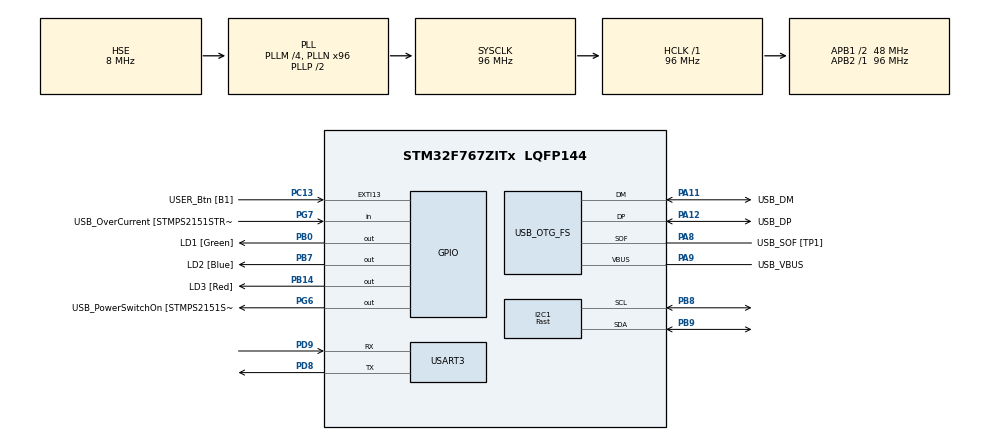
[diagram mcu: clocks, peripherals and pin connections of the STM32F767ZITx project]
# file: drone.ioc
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FREERTOS.BinarySemaphores01=binSemaphoreAcc1,Dynamic,NULL;binSemaphoreAcc2,Dynamic,NULL;binSemaphoreMag,Dynamic,NULL;binSemaphoreGyr,Dynamic,NULL;binSemaphorePres,Dynamic,NULL;binSemaphoreI2C,Dynamic,NULL;binSemaphoreAccMean,Dynamic,NULL
FREERTOS.Tasks01=tControlMotor,30,128,startTaskControlMotor,Default,NULL,Dynamic,NULL,NULL;tAttitude,27,128,startTaskAttitude,Default,NULL,Dynamic,NULL,NULL;tAltitude,25,128,startTaskAltitude,Default,NULL,Dynamic,NULL,NULL;LBS22HB_pressio,26,128,getPressure,Default,NULL,Dynamic,NULL,NULL;LSM303AGR_magne,28,128,getMagnetometer,Default,NULL,Dynamic,NULL,NULL;Media_Accellero,29,128,getAccMean,Default,NULL,Dynamic,NULL,NULL;LSM6DSL_girosco,31,128,getGyroscope,Default,NULL,Dynamic,NULL,NULL;Display,24,1000,displayData,Default,NULL,Dynamic,NULL,NULL
FREERTOS.configENABLE_FPU=1
FREERTOS.configUSE_NEWLIB_REENTRANT=1
I2C1.I2C_Speed_Mode=I2C_Fast
I2C1.Timing=0x2010091A
Mcu.Family=STM32F7
Mcu.Name=STM32F767ZITx
Mcu.Package=LQFP144
NVIC.PriorityGroup=NVIC_PRIORITYGROUP_4
NVIC.TIM1_UP_TIM10_IRQn=true\:15\:0\:false\:false\:true\:false\:false\:true\:true
NVIC.TimeBase=TIM1_UP_TIM10_IRQn
NVIC.TimeBaseIP=TIM1
PA1.GPIO_Label=RMII_REF_CLK [LAN8742A-CZ-TR_REFCLK0]
PA1.Signal=ETH_REF_CLK
PA10.GPIO_Label=USB_ID
PA10.Signal=USB_OTG_FS_ID
PA11.GPIO_Label=USB_DM
PA11.Mode=Device_Only
PA11.Signal=USB_OTG_FS_DM
PA12.GPIO_Label=USB_DP
PA12.Mode=Device_Only
PA12.Signal=USB_OTG_FS_DP
PA13.Mode=Serial_Wire
PA13.Signal=SYS_JTMS-SWDIO
PA14.Mode=Serial_Wire
PA14.Signal=SYS_JTCK-SWCLK
PA2.Signal=USART2_TX
PA7.GPIO_Label=RMII_CRS_DV [LAN8742A-CZ-TR_CRS_DV]
PA7.Signal=ETH_CRS_DV
PA8.GPIO_Label=USB_SOF [TP1]
PA8.Mode=Activate_SOF_FS
PA8.Signal=USB_OTG_FS_SOF
PA9.GPIO_Label=USB_VBUS
PA9.Mode=Activate_VBUS
PA9.Signal=USB_OTG_FS_VBUS
PB0.GPIO_Label=LD1 [Green]
PB0.Signal=GPIO_Output
PB13.GPIO_Label=RMII_TXD1 [LAN8742A-CZ-TR_TXD1]
PB13.Signal=ETH_TXD1
PB14.GPIO_Label=LD3 [Red]
PB14.Signal=GPIO_Output
PB3.GPIO_Label=SWO
PB3.Signal=SYS_JTDO-SWO
PB7.GPIO_Label=LD2 [Blue]
PB7.Signal=GPIO_Output
PB8.Mode=I2C
PB8.Signal=I2C1_SCL
PB9.Mode=I2C
PB9.Signal=I2C1_SDA
PC1.GPIO_Label=RMII_MDC [LAN8742A-CZ-TR_MDC]
PC1.Signal=ETH_MDC
PC13.GPIO_Label=USER_Btn [B1]
PC13.Signal=GPXTI13
PC14/OSC32_IN.Mode=LSE-External-Oscillator
PC14/OSC32_IN.Signal=RCC_OSC32_IN
PC15/OSC32_OUT.Mode=LSE-External-Oscillator
PC15/OSC32_OUT.Signal=RCC_OSC32_OUT
PC4.GPIO_Label=RMII_RXD0 [LAN8742A-CZ-TR_RXD0]
PC4.Signal=ETH_RXD0
PC5.GPIO_Label=RMII_RXD1 [LAN8742A-CZ-TR_RXD1]
PC5.Signal=ETH_RXD1
PD8.Mode=Asynchronous
PD8.Signal=USART3_TX
PD9.Mode=Asynchronous
PD9.Signal=USART3_RX
PG11.GPIO_Label=RMII_TX_EN [LAN8742A-CZ-TR_TXEN]
PG11.Signal=ETH_TX_EN
PG13.GPIO_Label=RMII_TXD0 [LAN8742A-CZ-TR_TXD0]
PG13.Signal=ETH_TXD0
PG6.GPIO_Label=USB_PowerSwitchOn [STMPS2151STR_EN]
PG6.Signal=GPIO_Output
PG7.GPIO_Label=USB_OverCurrent [STMPS2151STR_FAULT]
PG7.Signal=GPIO_Input
PH0/OSC_IN.GPIO_Label=MCO [STM32F103CBT6_PA8]
PH0/OSC_IN.Mode=HSE-External-Clock-Source
PH0/OSC_IN.Signal=RCC_OSC_IN
PH1/OSC_OUT.Mode=HSE-External-Clock-Source
PH1/OSC_OUT.Signal=RCC_OSC_OUT
ProjectManager.HeapSize=0x200
ProjectManager.StackSize=0x400
ProjectManager.TargetToolchain=STM32CubeIDE
RCC.48MHZClocksFreq_Value=24000000
RCC.AHBFreq_Value=96000000
RCC.APB1CLKDivider=RCC_HCLK_DIV2
RCC.APB1Freq_Value=48000000
RCC.APB1TimFreq_Value=96000000
RCC.APB2Freq_Value=96000000
RCC.APB2TimFreq_Value=96000000
RCC.CortexFreq_Value=96000000
RCC.HCLKFreq_Value=96000000
RCC.HSE_VALUE=8000000
RCC.HSI_VALUE=16000000
RCC.PLLM=4
RCC.PLLMUL=RCC_PLL_MUL9
RCC.PLLN=96
RCC.PLLQ=4
RCC.PRESCALERUSB=RCC_USBCLKSOURCE_PLL_DIV1_5
RCC.SYSCLKFreq_VALUE=96000000
RCC.SYSCLKSource=RCC_SYSCLKSOURCE_PLLCLK
RCC.SYSCLKSourceVirtual=RCC_SYSCLKSOURCE_PLLCLK
RCC.USBFreq_Value=48000000
RCC.VCOOutputFreq_Value=192000000
USART3.VirtualMode-Asynchronous=VM_ASYNC
USB_OTG_FS.VirtualMode=Device_Only
VP_FREERTOS_VS_CMSIS_V2.Mode=CMSIS_V2
VP_SYS_VS_tim1.Mode=TIM1
board=NUCLEO-F767ZI

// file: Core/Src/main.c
/* USER CODE BEGIN Header */
/**
  ******************************************************************************
  * @file           : main.c
  * @brief          : Main program body
  ******************************************************************************
  * @attention
  *
  * Copyright (c) 2022 STMicroelectronics.
  * All rights reserved.
  *
  * This software is licensed under terms that can be found in the LICENSE file
  * in the root directory of this software component.
  * If no LICENSE file comes with this software, it is provided AS-IS.
  *
  ******************************************************************************
  */
/* USER CODE END Header */
#include "main.h"
#include "cmsis_os.h"
#include "i2c.h"
#include "usart.h"
#include "usb_otg.h"
#include "gpio.h"

/* USER CODE BEGIN Includes */
#include "accel.h"
#include "attitude.h"
#include "baro.h"
#include "control_motor.h"
#include "gyro.h"
#include "mag.h"
#include "lsm303agr_interface.h"
#include "lsm6dsl_interface.h"
#include "lps22hb_interface.h"
#include <global_variables.h>
#include "string.h"
#include "bin_semaphores.h"
/* USER CODE END Includes */

void SystemClock_Config(void);
void MX_FREERTOS_Init(void);
/* USER CODE BEGIN PFP */
static void sensorGyroInit(struct gyroDev_s *gyro);
static bool sensorGyroRead(struct gyroDev_s *gyro);
static void sensorAccInit(struct accDev_s *acc);
static bool sensorAccRead(struct accDev_s *acc);
static void sensorMagInit(struct magDev_s *mag);
static bool sensorMagRead(struct magDev_s *mag);
static void sensorBaroInit(struct baroDev_s *baro);
static bool sensorBaroRead(struct baroDev_s *baro);
/* USER CODE END PFP */

int main(void)
{

  /* MCU Configuration--------------------------------------------------------*/

  /* Reset of all peripherals, Initializes the Flash interface and the Systick. */
  HAL_Init();

  /* Configure the system clock */
  SystemClock_Config();

  /* Initialize all configured peripherals */
  MX_GPIO_Init();
  MX_USB_OTG_FS_PCD_Init();
  MX_I2C1_Init();
  MX_USART3_UART_Init();
  /* USER CODE BEGIN 2 */
  /* init sensors*/
  LSM303AGR_init();
  LSM6DSL_init();
  LPS22HB_init();

  /* initialization of control task */
  gyroInit(sensorGyroInit, sensorGyroRead);
  controlMotorInit();

  /* initialization of attitude task */
  accInit(sensorAccInit, sensorAccRead);
  magInit(sensorMagInit, sensorMagRead);
  attitudeInit();

  /* initialization of altitude task */
  baroInit(sensorBaroInit, sensorBaroRead);

  /* USER CODE END 2 */

  /* Init scheduler */
  osKernelInitialize();  /* Call init function for freertos objects (in freertos.c) */
  MX_FREERTOS_Init();

  /* Start scheduler */
  osKernelStart();
  /* We should never get here as control is now taken by the scheduler */
  /* Infinite loop */
  while (1)
  {

  }
}

void SystemClock_Config(void)
{
  RCC_OscInitTypeDef RCC_OscInitStruct = {0};
  RCC_ClkInitTypeDef RCC_ClkInitStruct = {0};

  /** Configure LSE Drive Capability
  */
  HAL_PWR_EnableBkUpAccess();

  /** Configure the main internal regulator output voltage
  */
  __HAL_RCC_PWR_CLK_ENABLE();
  __HAL_PWR_VOLTAGESCALING_CONFIG(PWR_REGULATOR_VOLTAGE_SCALE3);

  /** Initializes the RCC Oscillators according to the specified parameters
  * in the RCC_OscInitTypeDef structure.
  */
  RCC_OscInitStruct.OscillatorType = RCC_OSCILLATORTYPE_HSE;
  RCC_OscInitStruct.HSEState = RCC_HSE_BYPASS;
  RCC_OscInitStruct.PLL.PLLState = RCC_PLL_ON;
  RCC_OscInitStruct.PLL.PLLSource = RCC_PLLSOURCE_HSE;
  RCC_OscInitStruct.PLL.PLLM = 4;
  RCC_OscInitStruct.PLL.PLLN = 96;
  RCC_OscInitStruct.PLL.PLLP = RCC_PLLP_DIV2;
  RCC_OscInitStruct.PLL.PLLQ = 4;
  RCC_OscInitStruct.PLL.PLLR = 2;
  if (HAL_RCC_OscConfig(&RCC_OscInitStruct) != HAL_OK)
  {
    Error_Handler();
  }

  /** Activate the Over-Drive mode
  */
  if (HAL_PWREx_EnableOverDrive() != HAL_OK)
  {
    Error_Handler();
  }

  /** Initializes the CPU, AHB and APB buses clocks
  */
  RCC_ClkInitStruct.ClockType = RCC_CLOCKTYPE_HCLK|RCC_CLOCKTYPE_SYSCLK
                              |RCC_CLOCKTYPE_PCLK1|RCC_CLOCKTYPE_PCLK2;
  RCC_ClkInitStruct.SYSCLKSource = RCC_SYSCLKSOURCE_PLLCLK;
  RCC_ClkInitStruct.AHBCLKDivider = RCC_SYSCLK_DIV1;
  RCC_ClkInitStruct.APB1CLKDivider = RCC_HCLK_DIV2;
  RCC_ClkInitStruct.APB2CLKDivider = RCC_HCLK_DIV1;

  if (HAL_RCC_ClockConfig(&RCC_ClkInitStruct, FLASH_LATENCY_3) != HAL_OK)
  {
    Error_Handler();
  }
}

/* USER CODE BEGIN 4 */
static void sensorGyroInit(struct gyroDev_s *gyro) { }

static bool sensorGyroRead(struct gyroDev_s *gyro) {
	if(osSemaphoreAcquire(binSemaphoreGyrHandle, osWaitForever)==osOK){
		gyro->gyroADC[0] = gyroscope.x;
		gyro->gyroADC[1] = gyroscope.y;
		gyro->gyroADC[2] = gyroscope.z;
		osSemaphoreRelease(binSemaphoreGyrHandle);
	}
	return true;
}

static void sensorAccInit(struct accDev_s *acc) { }

static bool sensorAccRead(struct accDev_s *acc) {
	if(osSemaphoreAcquire(binSemaphoreAccMeanHandle, 0)==osOK){
		acc->accADC[0] = accellerometer_mean.x;
		acc->accADC[1] = accellerometer_mean.y;
		acc->accADC[2] = accellerometer_mean.z;
		osSemaphoreRelease(binSemaphoreAccMeanHandle);
	}
	return true;
}

static void sensorMagInit(struct magDev_s *mag) { }

static bool sensorMagRead(struct magDev_s *mag) {
	if(osSemaphoreAcquire(binSemaphoreMagHandle, 0)==osOK){
		mag->magADC[0] = magnetometer.x;
		mag->magADC[1] = magnetometer.y;
		mag->magADC[2] = magnetometer.z;
		osSemaphoreRelease(binSemaphoreMagHandle);
	}
	return true;
}

static void sensorBaroInit(struct baroDev_s *baro) {
	baro->baroADC = 0;
}

static bool sensorBaroRead(struct baroDev_s *baro) {
	if(osSemaphoreAcquire(binSemaphorePresHandle, 0)==osOK){
		baro->baroADC = pressure;
		osSemaphoreRelease(binSemaphorePresHandle);
	}
	return true;
}

/* USER CODE END 4 */

void HAL_TIM_PeriodElapsedCallback(TIM_HandleTypeDef *htim)
{
  if (htim->Instance == TIM1) {
    HAL_IncTick();
  }
}

void Error_Handler(void)
{
  __disable_irq();
  while (1)
  {
  }
}

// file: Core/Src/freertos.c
/* USER CODE BEGIN Header */
/**
  ******************************************************************************
  * File Name          : freertos.c
  * Description        : Code for freertos applications
  ******************************************************************************
  * @attention
  *
  * Copyright (c) 2023 STMicroelectronics.
  * All rights reserved.
  *
  * This software is licensed under terms that can be found in the LICENSE file
  * in the root directory of this software component.
  * If no LICENSE file comes with this software, it is provided AS-IS.
  *
  ******************************************************************************
  */
/* USER CODE END Header */

#include "FreeRTOS.h"
#include "task.h"
#include "main.h"
#include "cmsis_os.h"
#include "usart.h"

/* USER CODE BEGIN Includes */
#include "lsm303agr_interface.h"
#include "lsm6dsl_interface.h"
#include "lps22hb_interface.h"
#include "delays.h"
#include "accel.h"
#include "attitude.h"
#include "baro.h"
#include "control_motor.h"
#include "gyro.h"
#include "mag.h"
#include "bin_semaphores.h"
#include "global_variables.h"
/* USER CODE END Includes */

/* USER CODE BEGIN Variables */
acc_mean accellerometer_mean;
/* USER CODE END Variables */
/* Definitions for tControlMotor */
osThreadId_t tControlMotorHandle;
const osThreadAttr_t tControlMotor_attributes = {
  .name = "tControlMotor",
  .stack_size = 128 * 4,
  .priority = (osPriority_t) osPriorityNormal6,
};
/* Definitions for tAttitude */
osThreadId_t tAttitudeHandle;
const osThreadAttr_t tAttitude_attributes = {
  .name = "tAttitude",
  .stack_size = 128 * 4,
  .priority = (osPriority_t) osPriorityNormal3,
};
/* Definitions for tAltitude */
osThreadId_t tAltitudeHandle;
const osThreadAttr_t tAltitude_attributes = {
  .name = "tAltitude",
  .stack_size = 128 * 4,
  .priority = (osPriority_t) osPriorityNormal1,
};
/* Definitions for LBS22HB_pressio */
osThreadId_t LBS22HB_pressioHandle;
const osThreadAttr_t LBS22HB_pressio_attributes = {
  .name = "LBS22HB_pressio",
  .stack_size = 128 * 4,
  .priority = (osPriority_t) osPriorityNormal2,
};
/* Definitions for LSM303AGR_magne */
osThreadId_t LSM303AGR_magneHandle;
const osThreadAttr_t LSM303AGR_magne_attributes = {
  .name = "LSM303AGR_magne",
  .stack_size = 128 * 4,
  .priority = (osPriority_t) osPriorityNormal4,
};
/* Definitions for Media_Accellero */
osThreadId_t Media_AccelleroHandle;
const osThreadAttr_t Media_Accellero_attributes = {
  .name = "Media_Accellero",
  .stack_size = 128 * 4,
  .priority = (osPriority_t) osPriorityNormal5,
};
/* Definitions for LSM6DSL_girosco */
osThreadId_t LSM6DSL_giroscoHandle;
const osThreadAttr_t LSM6DSL_girosco_attributes = {
  .name = "LSM6DSL_girosco",
  .stack_size = 128 * 4,
  .priority = (osPriority_t) osPriorityNormal7,
};
/* Definitions for Display */
osThreadId_t DisplayHandle;
const osThreadAttr_t Display_attributes = {
  .name = "Display",
  .stack_size = 1000 * 4,
  .priority = (osPriority_t) osPriorityNormal,
};
/* Definitions for binSemaphoreAcc1 */
osSemaphoreId_t binSemaphoreAcc1Handle;
const osSemaphoreAttr_t binSemaphoreAcc1_attributes = {
  .name = "binSemaphoreAcc1"
};
/* Definitions for binSemaphoreAcc2 */
osSemaphoreId_t binSemaphoreAcc2Handle;
const osSemaphoreAttr_t binSemaphoreAcc2_attributes = {
  .name = "binSemaphoreAcc2"
};
/* Definitions for binSemaphoreMag */
osSemaphoreId_t binSemaphoreMagHandle;
const osSemaphoreAttr_t binSemaphoreMag_attributes = {
  .name = "binSemaphoreMag"
};
/* Definitions for binSemaphoreGyr */
osSemaphoreId_t binSemaphoreGyrHandle;
const osSemaphoreAttr_t binSemaphoreGyr_attributes = {
  .name = "binSemaphoreGyr"
};
/* Definitions for binSemaphorePres */
osSemaphoreId_t binSemaphorePresHandle;
const osSemaphoreAttr_t binSemaphorePres_attributes = {
  .name = "binSemaphorePres"
};
/* Definitions for binSemaphoreI2C */
osSemaphoreId_t binSemaphoreI2CHandle;
const osSemaphoreAttr_t binSemaphoreI2C_attributes = {
  .name = "binSemaphoreI2C"
};
/* Definitions for binSemaphoreAccMean */
osSemaphoreId_t binSemaphoreAccMeanHandle;
const osSemaphoreAttr_t binSemaphoreAccMean_attributes = {
  .name = "binSemaphoreAccMean"
};

void startTaskControlMotor(void *argument);
void startTaskAttitude(void *argument);
void startTaskAltitude(void *argument);
void getPressure(void *argument);
void getMagnetometer(void *argument);
void getAccMean(void *argument);
void getGyroscope(void *argument);
void displayData(void *argument);

void MX_FREERTOS_Init(void); /* (MISRA C 2004 rule 8.1) */

void MX_FREERTOS_Init(void) {

  /* Create the semaphores(s) */
  /* creation of binSemaphoreAcc1 */
  binSemaphoreAcc1Handle = osSemaphoreNew(1, 1, &binSemaphoreAcc1_attributes);

  /* creation of binSemaphoreAcc2 */
  binSemaphoreAcc2Handle = osSemaphoreNew(1, 1, &binSemaphoreAcc2_attributes);

  /* creation of binSemaphoreMag */
  binSemaphoreMagHandle = osSemaphoreNew(1, 1, &binSemaphoreMag_attributes);

  /* creation of binSemaphoreGyr */
  binSemaphoreGyrHandle = osSemaphoreNew(1, 1, &binSemaphoreGyr_attributes);

  /* creation of binSemaphorePres */
  binSemaphorePresHandle = osSemaphoreNew(1, 1, &binSemaphorePres_attributes);

  /* creation of binSemaphoreI2C */
  binSemaphoreI2CHandle = osSemaphoreNew(1, 1, &binSemaphoreI2C_attributes);

  /* creation of binSemaphoreAccMean */
  binSemaphoreAccMeanHandle = osSemaphoreNew(1, 1, &binSemaphoreAccMean_attributes);

  /* Create the thread(s) */
  /* creation of tControlMotor */
  tControlMotorHandle = osThreadNew(startTaskControlMotor, NULL, &tControlMotor_attributes);

  /* creation of tAttitude */
  tAttitudeHandle = osThreadNew(startTaskAttitude, NULL, &tAttitude_attributes);

  /* creation of tAltitude */
  tAltitudeHandle = osThreadNew(startTaskAltitude, NULL, &tAltitude_attributes);

  /* creation of LBS22HB_pressio */
  LBS22HB_pressioHandle = osThreadNew(getPressure, NULL, &LBS22HB_pressio_attributes);

  /* creation of LSM303AGR_magne */
  LSM303AGR_magneHandle = osThreadNew(getMagnetometer, NULL, &LSM303AGR_magne_attributes);

  /* creation of Media_Accellero */
  Media_AccelleroHandle = osThreadNew(getAccMean, NULL, &Media_Accellero_attributes);

  /* creation of LSM6DSL_girosco */
  LSM6DSL_giroscoHandle = osThreadNew(getGyroscope, NULL, &LSM6DSL_girosco_attributes);

  /* creation of Display */
  DisplayHandle = osThreadNew(displayData, NULL, &Display_attributes);

}

void startTaskControlMotor(void *argument)
{
  /* USER CODE BEGIN startTaskControlMotor */
  /* Infinite loop */
  for(;;)
  {
	gyroUpdate();
	controlMotorUpdate();
    osDelay(TASK_CONTROL_MOTOR_PERIOD);
  }
  /* USER CODE END startTaskControlMotor */
}

void startTaskAttitude(void *argument)
{
  /* USER CODE BEGIN startTaskAttitude */
  /* Infinite loop */
  for(;;)
  {
	accUpdate();
	magUpdate();

	attitudeUpdate();
    osDelay(TASK_ASSETTO_PERIOD);
  }
  /* USER CODE END startTaskAttitude */
}

void startTaskAltitude(void *argument)
{
  /* USER CODE BEGIN startTaskAltitude */
  /* Infinite loop */
  for(;;)
  {
	baroUpdate();

    osDelay(TASK_ALTITUDINE_PERIOD);
  }
  /* USER CODE END startTaskAltitude */
}

void getPressure(void *argument)
{
  /* USER CODE BEGIN getPressure */
  /* Infinite loop */
  for(;;)
  {
   if(osSemaphoreAcquire(binSemaphoreI2CHandle, 0)==osOK){

	   LPS22HB_dataRead();

	   osSemaphoreRelease(binSemaphoreI2CHandle);
	  }

    osDelay(TASK_PRESSIONE_PERIOD);
  }
  /* USER CODE END getPressure */
}

void getMagnetometer(void *argument)
{
  /* USER CODE BEGIN getMagnetometer */
  /* Infinite loop */
  for(;;)
  {
   if(osSemaphoreAcquire(binSemaphoreI2CHandle, 0)==osOK){

	   LSM303AGR_dataReadMag();

	   osSemaphoreRelease(binSemaphoreI2CHandle);
	}

    osDelay(TASK_MAGNETOMETRO_PERIOD);
  }
  /* USER CODE END getMagnetometer */
}

void getAccMean(void *argument)
{
  /* USER CODE BEGIN getAccMean */
  /* Infinite loop */
  for(;;)
  {
	if(osSemaphoreAcquire(binSemaphoreI2CHandle, 0)==osOK){

		LSM303AGR_dataReadAcc();
		LSM6DSL_dataReadAcc();

		osSemaphoreRelease(binSemaphoreI2CHandle);
	}

	if(osSemaphoreAcquire(binSemaphoreAccMeanHandle, 0)==osOK){

		accellerometer_mean.x = (accellerometer1.x + accellerometer2.x)/2;
		accellerometer_mean.y = (accellerometer1.y + accellerometer2.y)/2;
		accellerometer_mean.z = (accellerometer1.z + accellerometer2.z)/2;

		osSemaphoreRelease(binSemaphoreAccMeanHandle);
	}

    osDelay(TASK_ACCELLEROMETRI_PERIOD);
  }
  /* USER CODE END getAccMean */
}

void getGyroscope(void *argument)
{
  /* USER CODE BEGIN getGyroscope */
  /* Infinite loop */
  for(;;)
  {
	if(osSemaphoreAcquire(binSemaphoreI2CHandle, 0)==osOK){

			LSM6DSL_dataReadGyro();

			osSemaphoreRelease(binSemaphoreI2CHandle);
	}

    osDelay(TASK_GIROSCOPIO_PERIOD);
  }
  /* USER CODE END getGyroscope */
}

void displayData(void *argument)
{
  /* USER CODE BEGIN displayData */
  /* Infinite loop */
  for(;;)
  {
   //NB: nel caso in cui non riesco ad acquisire anche solo un semaforo la stampa non avviene
   char MSG1[80] = {"\0"};
   char MSG2[80] = {"\0"};
   char MSG3[80] = {"\0"};
   char MSG4[80] = {"\0"};
   char MSG5[80] = {"\0"};
   char MSG6[80] = {"\0"};
   if(osSemaphoreAcquire(binSemaphorePresHandle, 0) == osOK){
   	   if(osSemaphoreAcquire(binSemaphoreAcc1Handle, 0) == osOK){
	   	   if(osSemaphoreAcquire(binSemaphoreAcc2Handle, 0) == osOK){
	   		   if(osSemaphoreAcquire(binSemaphoreAccMeanHandle, 0) == osOK){
	   			   if(osSemaphoreAcquire(binSemaphoreMagHandle, 0) == osOK){
	   				   if(osSemaphoreAcquire(binSemaphoreGyrHandle, 0) == osOK){
	   					   sprintf(MSG1, "dati velocita' angolare       x=%.2f y=%.2f z=%.2f\n\r", gyroscope.x, gyroscope.y, gyroscope.z);
	   					   sprintf(MSG2, "dati accellerometro 1         x=%.2f y=%.2f z=%.2f\n\r", accellerometer1.x, accellerometer1.y, accellerometer1.z);
	   					   sprintf(MSG3, "dati accellerometro 2         x=%.2f y=%.2f z=%.2f\n\r", accellerometer2.x, accellerometer2.y, accellerometer2.z);
	   					   sprintf(MSG4, "media dati accellerometri     x=%.2f y=%.2f z=%.2f\n\r", accellerometer_mean.x, accellerometer_mean.y, accellerometer_mean.z);
	   					   sprintf(MSG5, "dati flusso magnetico         x=%.2f y=%.2f z=%.2f\n\r", magnetometer.x, magnetometer.y, magnetometer.z);
	   					   sprintf(MSG6, "dati pressione                p=%.2f\n\n\r", pressure);
	   				 	   osSemaphoreRelease(binSemaphoreGyrHandle);
	   				   }
	   			 	   osSemaphoreRelease(binSemaphoreMagHandle);
	   			   }
	   		  	   osSemaphoreRelease(binSemaphoreAccMeanHandle);
	   		   }
	   	   	osSemaphoreRelease(binSemaphoreAcc2Handle);
	   	   }
	   	osSemaphoreRelease(binSemaphoreAcc1Handle);
   	   }
   	osSemaphoreRelease(binSemaphorePresHandle);
   }

   HAL_UART_Transmit(&huart3, MSG1, sizeof(MSG1), 100);
   HAL_UART_Transmit(&huart3, MSG2, sizeof(MSG2), 100);
   HAL_UART_Transmit(&huart3, MSG3, sizeof(MSG3), 100);
   HAL_UART_Transmit(&huart3, MSG4, sizeof(MSG4), 100);
   HAL_UART_Transmit(&huart3, MSG5, sizeof(MSG5), 100);
   HAL_UART_Transmit(&huart3, MSG6, sizeof(MSG6), 100);

   osDelay(TASK_DISPLAY_PERIOD);
  }
  /* USER CODE END displayData */
}
